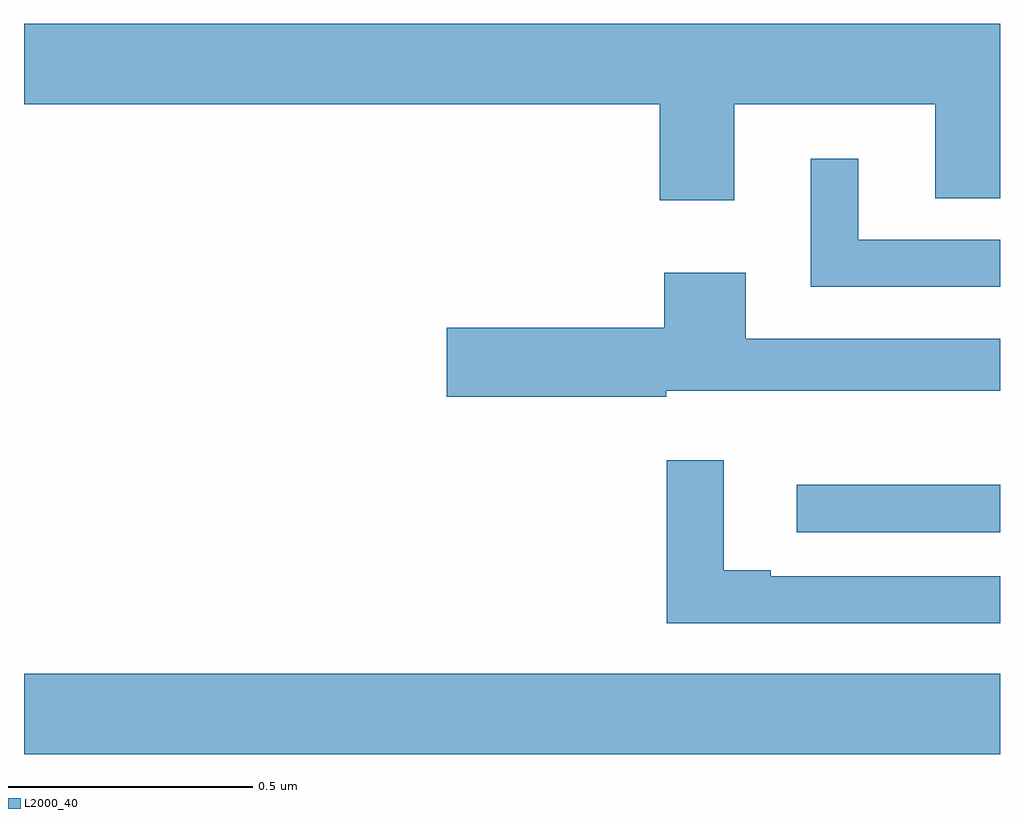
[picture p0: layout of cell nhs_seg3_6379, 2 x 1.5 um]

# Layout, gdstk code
import gdstk
lib = gdstk.Library(unit=1e-6, precision=1e-09)
def R(c, l, rs):  # rectangles x0, y0, x1, y1
    for r in rs: c.add(gdstk.rectangle(r[:2], r[2:], *l))
def P(c, l, *ps):  # polygons
    for p in ps: c.add(gdstk.Polygon(p, *l))
L2000_40 = (2000, 40)

nhs_seg3_6379 = lib.new_cell('nhs_seg3_6379')
R(nhs_seg3_6379, L2000_40, [(190,719.564,192,719.728), (191.583,720.018,192,720.116)])
P(nhs_seg3_6379, L2000_40, [(191.455,720.896),(191.867,720.896),(191.867,720.703),(192,720.703),(192,721.06),(190,721.06),(190,720.896),(191.303,720.896),(191.303,720.699),(191.455,720.699)],
  [(192,720.618),(191.71,720.618),(191.71,720.784),(191.612,720.784),(191.612,720.522),(192,720.522)],
  [(191.316,720.308),(192,720.308),(192,720.415),(191.479,720.415),(191.479,720.55),(191.312,720.55),(191.312,720.438),(190.866,720.438),(190.866,720.296),(191.316,720.296)],
  [(192,719.928),(191.53,719.928),(191.53,719.941),(191.434,719.941),(191.434,720.166),(191.317,720.166),(191.317,719.832),(192,719.832)])

lib.write_gds('nhs_seg3_6379.gds')
